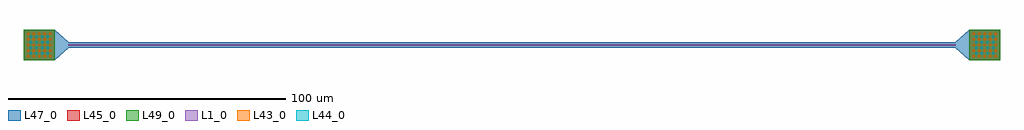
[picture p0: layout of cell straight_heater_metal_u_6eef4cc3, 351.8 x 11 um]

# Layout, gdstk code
import gdstk
lib = gdstk.Library(unit=1e-6, precision=1e-09)
def R(c, l, rs):  # rectangles x0, y0, x1, y1
    for r in rs: c.add(gdstk.rectangle(r[:2], r[2:], *l))
def A(c, l, x, y, w, h, nx, ny, dx, dy):  # array of equal rectangles
    R(c, l, [(x+i*dx, y+j*dy, x+i*dx+w, y+j*dy+h) for i in range(nx) for j in range(ny)])
def P(c, l, *ps):  # polygons
    for p in ps: c.add(gdstk.Polygon(p, *l))
L1_0 = (1, 0)
L43_0 = (43, 0)
L44_0 = (44, 0)
L45_0 = (45, 0)
L47_0 = (47, 0)
L49_0 = (49, 0)

straight_heater_metal_u_ = lib.new_cell('straight_heater_metal_u_6eef4cc3')
R(straight_heater_metal_u_, L1_0, [(0,-0.2,320,0.2)])
A(straight_heater_metal_u_, L43_0, -14.75, -4.35, 0.7, 0.7, 5, 5, 2, 2)
A(straight_heater_metal_u_, L43_0, 326.05, -4.35, 0.7, 0.7, 5, 5, 2, 2)
A(straight_heater_metal_u_, L44_0, -13.75, -3.35, 0.7, 0.7, 4, 4, 2, 2)
A(straight_heater_metal_u_, L44_0, 327.05, -3.35, 0.7, 0.7, 4, 4, 2, 2)
R(straight_heater_metal_u_, L45_0, [(-15.9,-5.5,-4.9,5.5), (324.9,-5.5,335.9,5.5)])
P(straight_heater_metal_u_, L47_0, [(-15.9,-5.5),(-15.9,5.5),(-4.9,5.5),(0.1,1.25),(0.1,1),(319.9,1),(319.9,1.25),(324.9,5.5),(335.9,5.5),(335.9,-5.5),(324.9,-5.5),(319.9,-1.25),(319.9,-1),(0.1,-1),(0.1,-1.25),(-4.9,-5.5)])
R(straight_heater_metal_u_, L49_0, [(-15.9,-5.5,-4.9,5.5), (324.9,-5.5,335.9,5.5)])

lib.write_gds('straight_heater_metal_u_6eef4cc3.gds')
